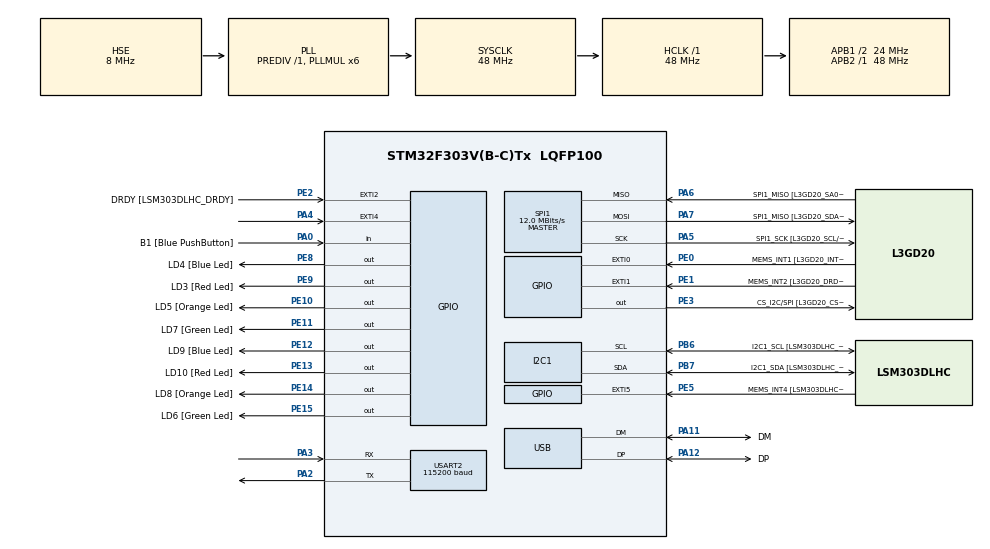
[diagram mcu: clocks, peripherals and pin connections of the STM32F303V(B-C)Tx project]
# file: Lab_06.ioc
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I2C1.Timing=0x2000090E
I2C1.Timing-I2C=0x2000090E
Mcu.Family=STM32F3
Mcu.Name=STM32F303V(B-C)Tx
Mcu.Package=LQFP100
NVIC.EXTI4_IRQn=true\:0\:0\:false\:false\:true\:true\:true\:true
NVIC.PriorityGroup=NVIC_PRIORITYGROUP_0
PA0.GPIO_Label=B1 [Blue PushButton]
PA0.Signal=GPIO_Input
PA11.GPIO_Label=DM
PA11.Mode=Device
PA11.Signal=USB_DM
PA12.GPIO_Label=DP
PA12.Mode=Device
PA12.Signal=USB_DP
PA13.GPIO_Label=SWDIO
PA13.Mode=Serial_Wire
PA13.Signal=SYS_JTMS-SWDIO
PA14.GPIO_Label=SWCLK
PA14.Mode=Serial_Wire
PA14.Signal=SYS_JTCK-SWCLK
PA2.Mode=Asynchronous
PA2.Signal=USART2_TX
PA3.Mode=Asynchronous
PA3.Signal=USART2_RX
PA4.GPIO_ModeDefaultEXTI=GPIO_MODE_IT_RISING
PA4.Signal=GPXTI4
PA5.GPIO_Label=SPI1_SCK [L3GD20_SCL/SPC]
PA5.Mode=Full_Duplex_Master
PA5.Signal=SPI1_SCK
PA6.GPIO_Label=SPI1_MISO [L3GD20_SA0/SDO]
PA6.Mode=Full_Duplex_Master
PA6.Signal=SPI1_MISO
PA7.GPIO_Label=SPI1_MISO [L3GD20_SDA/SDI/SDO]
PA7.Mode=Full_Duplex_Master
PA7.Signal=SPI1_MOSI
PB3.GPIO_Label=SWO
PB3.Signal=SYS_JTDO-TRACESWO
PB6.GPIO_Label=I2C1_SCL [LSM303DLHC_SCL]
PB6.GPIO_Pu=GPIO_PULLUP
PB6.Mode=I2C
PB6.Signal=I2C1_SCL
PB7.GPIO_Label=I2C1_SDA [LSM303DLHC_SDA]
PB7.GPIO_Pu=GPIO_PULLUP
PB7.Mode=I2C
PB7.Signal=I2C1_SDA
PC14-OSC32_IN.GPIO_Label=OSC32_IN
PC14-OSC32_IN.Signal=RCC_OSC32_IN
PC15-OSC32_OUT.GPIO_Label=OSC32_OUT
PC15-OSC32_OUT.Signal=RCC_OSC32_OUT
PE0.GPIO_Label=MEMS_INT1 [L3GD20_INT1]
PE0.GPIO_ModeDefaultEXTI=GPIO_MODE_EVT_RISING
PE0.Signal=GPXTI0
PE1.GPIO_Label=MEMS_INT2 [L3GD20_DRDY/INT2]
PE1.GPIO_ModeDefaultEXTI=GPIO_MODE_EVT_RISING
PE1.Signal=GPXTI1
PE10.GPIO_Label=LD5 [Orange Led]
PE10.Signal=GPIO_Output
PE11.GPIO_Label=LD7 [Green Led]
PE11.Signal=GPIO_Output
PE12.GPIO_Label=LD9 [Blue Led]
PE12.Signal=GPIO_Output
PE13.GPIO_Label=LD10 [Red Led]
PE13.Signal=GPIO_Output
PE14.GPIO_Label=LD8 [Orange Led]
PE14.Signal=GPIO_Output
PE15.GPIO_Label=LD6 [Green Led]
PE15.Signal=GPIO_Output
PE2.GPIO_Label=DRDY [LSM303DLHC_DRDY]
PE2.GPIO_ModeDefaultEXTI=GPIO_MODE_EVT_RISING
PE2.Signal=GPXTI2
PE3.GPIO_Label=CS_I2C/SPI [L3GD20_CS_I2C/SPI]
PE3.Signal=GPIO_Output
PE5.GPIO_Label=MEMS_INT4 [LSM303DLHC_INT2]
PE5.GPIO_ModeDefaultEXTI=GPIO_MODE_EVT_RISING
PE5.Signal=GPXTI5
PE8.GPIO_Label=LD4 [Blue Led]
PE8.Signal=GPIO_Output
PE9.GPIO_Label=LD3 [Red Led]
PE9.Signal=GPIO_Output
PF0-OSC_IN.GPIO_Label=OSC_IN
PF0-OSC_IN.Mode=HSE-External-Clock-Source
PF0-OSC_IN.Signal=RCC_OSC_IN
PF1-OSC_OUT.GPIO_Label=OSC_OUT
PF1-OSC_OUT.Signal=RCC_OSC_OUT
ProjectManager.HeapSize=0x200
ProjectManager.StackSize=0x400
ProjectManager.TargetToolchain=CMake
RCC.AHBFreq_Value=48000000
RCC.APB1CLKDivider=RCC_HCLK_DIV2
RCC.APB1Freq_Value=24000000
RCC.APB1TimFreq_Value=48000000
RCC.APB2Freq_Value=48000000
RCC.APB2TimFreq_Value=48000000
RCC.CortexFreq_Value=48000000
RCC.HCLKFreq_Value=48000000
RCC.HSE_VALUE=8000000
RCC.HSI_VALUE=8000000
RCC.LSE_VALUE=32768
RCC.PLLMUL=RCC_PLL_MUL6
RCC.SYSCLKFreq_VALUE=48000000
RCC.SYSCLKSourceVirtual=RCC_SYSCLKSOURCE_PLLCLK
RCC.USBFreq_Value=48000000
SPI1.BaudRatePrescaler=SPI_BAUDRATEPRESCALER_4
SPI1.BaudRatePrescaler-Full_Duplex_Master=SPI_BAUDRATEPRESCALER_2
SPI1.CalculateBaudRate=12.0 MBits/s
SPI1.CalculateBaudRate-Full_Duplex_Master=24.0 MBits/s
SPI1.Direction=SPI_DIRECTION_2LINES
SPI1.Mode=SPI_MODE_MASTER
SPI1.Mode-Full_Duplex_Master=SPI_MODE_MASTER
SPI1.VirtualType=VM_MASTER
TIM2.Prescaler=9
USART2.BaudRate=115200
USART2.VirtualMode-Asynchronous=VM_ASYNC
VP_TIM2_VS_ClockSourceINT.Mode=Internal
board=STM32F3DISCOVERY

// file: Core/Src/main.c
/* USER CODE BEGIN Header */
/**
  ******************************************************************************
  * @file           : main.c
  * @brief          : Main program body
  ******************************************************************************
  * @attention
  *
  * Copyright (c) 2026 STMicroelectronics.
  * All rights reserved.
  *
  * This software is licensed under terms that can be found in the LICENSE file
  * in the root directory of this software component.
  * If no LICENSE file comes with this software, it is provided AS-IS.
  *
  ******************************************************************************
  */
/* USER CODE END Header */
#include "main.h"

/* USER CODE BEGIN Includes */
#include <string.h>
#include <stdio.h>
#include <stdarg.h>
/* USER CODE END Includes */

I2C_HandleTypeDef hi2c1;

SPI_HandleTypeDef hspi1;

TIM_HandleTypeDef htim2;

UART_HandleTypeDef huart2;

PCD_HandleTypeDef hpcd_USB_FS;

/* USER CODE BEGIN PV */
//TASK1-------------------------------------------------------------------------------------------
// #define SAMPLES 10

// volatile uint32_t cap[SAMPLES];
// volatile uint8_t  idx = 0;
// volatile uint8_t  started = 0;
// volatile uint8_t  print_flag = 0;

// uint32_t last_check = 0;

// // As per handout formula: f = (8e6) / (2 * avg_period)
// #define NUMERATOR 4800000.0f

//TASK2-------------------------------------------------------------------------------------------

// TIM2 configured for 48 MHz clock, PSC = 47  => 1 us per tick
// ARR = 65535, CH1 Input Capture on Rising edge, TIM2 NVIC enabled

volatile uint32_t ic1 = 0;
volatile uint32_t ic2 = 0;
volatile uint32_t period_us = 0;
volatile uint8_t  got_first = 0;
volatile uint8_t  new_data  = 0;

/* USER CODE END PV */

void SystemClock_Config(void);
static void MX_GPIO_Init(void);
static void MX_I2C1_Init(void);
static void MX_SPI1_Init(void);
static void MX_TIM2_Init(void);
static void MX_USB_PCD_Init(void);
static void MX_USART2_UART_Init(void);

/* USER CODE BEGIN 0 */
void myprintf(const char *fmt, ...)
{
  char buffer[128];
  va_list args;
  va_start(args, fmt);
  vsnprintf(buffer, sizeof(buffer), fmt, args);
  va_end(args);

  HAL_UART_Transmit(&huart2, (uint8_t*)buffer, strlen(buffer), HAL_MAX_DELAY);
}

//TASK1----------------------------------------------------------------------------------
// void HAL_GPIO_EXTI_Callback(uint16_t GPIO_Pin)
// {
//   if(GPIO_Pin == GPIO_PIN_4)   // <-- change to your EXTI pin
//   {
//     if(started == 0)
//     {
//       __HAL_TIM_SET_COUNTER(&htim2, 0);
//       HAL_TIM_Base_Start(&htim2);
//       started = 1;
//     }
//     else
//     {
//       cap[idx] = __HAL_TIM_GET_COUNTER(&htim2);
//       idx++;

//       if(idx >= SAMPLES)
//       {
//         idx = 0;
//         print_flag = 1;
//         HAL_TIM_Base_Stop(&htim2);
//         started = 0;
//       }
//       else
//       {
//         __HAL_TIM_SET_COUNTER(&htim2, 0);
//       }
//     }
//   }
// }

  void HAL_TIM_IC_CaptureCallback(TIM_HandleTypeDef *htim)
  {
    if(htim->Instance == TIM2 && htim->Channel == HAL_TIM_ACTIVE_CHANNEL_1)
    {
      if(got_first == 0)
      {
        ic1 = HAL_TIM_ReadCapturedValue(htim, TIM_CHANNEL_1);
        got_first = 1;
      }
      else
      {
        ic2 = HAL_TIM_ReadCapturedValue(htim, TIM_CHANNEL_1);

        if(ic2 >= ic1)
          period_us = ic2 - ic1;
        else
          period_us = (65535 - ic1) + ic2 + 1;   // overflow wrap

        got_first = 0;
        new_data  = 1;
      }
    }
  }

/* USER CODE END 0 */

int main(void)
{

  /* MCU Configuration--------------------------------------------------------*/

  /* Reset of all peripherals, Initializes the Flash interface and the Systick. */
  HAL_Init();

  /* Configure the system clock */
  SystemClock_Config();

  /* Initialize all configured peripherals */
  MX_GPIO_Init();
  MX_I2C1_Init();
  MX_SPI1_Init();
  MX_TIM2_Init();
  MX_USB_PCD_Init();
  MX_USART2_UART_Init();
  /* USER CODE BEGIN 2 */
  //TASK1-------------------------------------------------------------------------
  // myprintf("Task1: GPIO EXTI + TIM2 Frequency Measurement\r\n");

  //TASK2--------------------------------------------------------------------------
  myprintf("Task2: TIM2 CH1 Input Capture (integer output)\r\n");

  HAL_TIM_Base_Start(&htim2);
  HAL_TIM_IC_Start_IT(&htim2, TIM_CHANNEL_1);

  /* USER CODE END 2 */

  /* Infinite loop */
  /* USER CODE BEGIN WHILE */
  while (1)
  {

//   if(HAL_GetTick() - last_check >= 100)
//   {
//     last_check = HAL_GetTick();

//     if(print_flag)
//     {
//       uint64_t sum = 0;

//       for(int i = 0; i < SAMPLES; i++)
//       {
//         sum += cap[i];
//       }

//       uint32_t avg_period = (float)sum / (float)SAMPLES;

//       // STRICT formula from sheet:
//       // f = (48 x 10^6) / (2 x average period)
//       uint32_t f = NUMERATOR / (avg_period);

//       myprintf("avg_period=%lu, f=%lu Hz\r\n", avg_period, f);

//       print_flag = 0;
//     }
//   }
// }
    /* USER CODE END WHILE */

  if(new_data)
  {
    new_data = 0;

    if(period_us > 0)
    {
      // integer frequency in Hz (truncates)
      uint32_t f_hz = 1000000u / period_us;

      myprintf("Period=%lu us, f=%lu Hz\r\n", period_us, f_hz);
    }
  }

  }
}

void SystemClock_Config(void)
{
  RCC_OscInitTypeDef RCC_OscInitStruct = {0};
  RCC_ClkInitTypeDef RCC_ClkInitStruct = {0};
  RCC_PeriphCLKInitTypeDef PeriphClkInit = {0};

  /** Initializes the RCC Oscillators according to the specified parameters
  * in the RCC_OscInitTypeDef structure.
  */
  RCC_OscInitStruct.OscillatorType = RCC_OSCILLATORTYPE_HSI|RCC_OSCILLATORTYPE_HSE;
  RCC_OscInitStruct.HSEState = RCC_HSE_BYPASS;
  RCC_OscInitStruct.HSEPredivValue = RCC_HSE_PREDIV_DIV1;
  RCC_OscInitStruct.HSIState = RCC_HSI_ON;
  RCC_OscInitStruct.HSICalibrationValue = RCC_HSICALIBRATION_DEFAULT;
  RCC_OscInitStruct.PLL.PLLState = RCC_PLL_ON;
  RCC_OscInitStruct.PLL.PLLSource = RCC_PLLSOURCE_HSE;
  RCC_OscInitStruct.PLL.PLLMUL = RCC_PLL_MUL6;
  if (HAL_RCC_OscConfig(&RCC_OscInitStruct) != HAL_OK)
  {
    Error_Handler();
  }

  /** Initializes the CPU, AHB and APB buses clocks
  */
  RCC_ClkInitStruct.ClockType = RCC_CLOCKTYPE_HCLK|RCC_CLOCKTYPE_SYSCLK
                              |RCC_CLOCKTYPE_PCLK1|RCC_CLOCKTYPE_PCLK2;
  RCC_ClkInitStruct.SYSCLKSource = RCC_SYSCLKSOURCE_PLLCLK;
  RCC_ClkInitStruct.AHBCLKDivider = RCC_SYSCLK_DIV1;
  RCC_ClkInitStruct.APB1CLKDivider = RCC_HCLK_DIV2;
  RCC_ClkInitStruct.APB2CLKDivider = RCC_HCLK_DIV1;

  if (HAL_RCC_ClockConfig(&RCC_ClkInitStruct, FLASH_LATENCY_1) != HAL_OK)
  {
    Error_Handler();
  }
  PeriphClkInit.PeriphClockSelection = RCC_PERIPHCLK_USB|RCC_PERIPHCLK_USART2
                              |RCC_PERIPHCLK_I2C1;
  PeriphClkInit.Usart2ClockSelection = RCC_USART2CLKSOURCE_PCLK1;
  PeriphClkInit.I2c1ClockSelection = RCC_I2C1CLKSOURCE_HSI;
  PeriphClkInit.USBClockSelection = RCC_USBCLKSOURCE_PLL;
  if (HAL_RCCEx_PeriphCLKConfig(&PeriphClkInit) != HAL_OK)
  {
    Error_Handler();
  }
}

static void MX_I2C1_Init(void)
{

  hi2c1.Instance = I2C1;
  hi2c1.Init.Timing = 0x2000090E;
  hi2c1.Init.OwnAddress1 = 0;
  hi2c1.Init.AddressingMode = I2C_ADDRESSINGMODE_7BIT;
  hi2c1.Init.DualAddressMode = I2C_DUALADDRESS_DISABLE;
  hi2c1.Init.OwnAddress2 = 0;
  hi2c1.Init.OwnAddress2Masks = I2C_OA2_NOMASK;
  hi2c1.Init.GeneralCallMode = I2C_GENERALCALL_DISABLE;
  hi2c1.Init.NoStretchMode = I2C_NOSTRETCH_DISABLE;
  if (HAL_I2C_Init(&hi2c1) != HAL_OK)
  {
    Error_Handler();
  }

  /** Configure Analogue filter
  */
  if (HAL_I2CEx_ConfigAnalogFilter(&hi2c1, I2C_ANALOGFILTER_ENABLE) != HAL_OK)
  {
    Error_Handler();
  }

  /** Configure Digital filter
  */
  if (HAL_I2CEx_ConfigDigitalFilter(&hi2c1, 0) != HAL_OK)
  {
    Error_Handler();
  }

}

static void MX_SPI1_Init(void)
{

  /* SPI1 parameter configuration*/
  hspi1.Instance = SPI1;
  hspi1.Init.Mode = SPI_MODE_MASTER;
  hspi1.Init.Direction = SPI_DIRECTION_2LINES;
  hspi1.Init.DataSize = SPI_DATASIZE_4BIT;
  hspi1.Init.CLKPolarity = SPI_POLARITY_LOW;
  hspi1.Init.CLKPhase = SPI_PHASE_1EDGE;
  hspi1.Init.NSS = SPI_NSS_SOFT;
  hspi1.Init.BaudRatePrescaler = SPI_BAUDRATEPRESCALER_4;
  hspi1.Init.FirstBit = SPI_FIRSTBIT_MSB;
  hspi1.Init.TIMode = SPI_TIMODE_DISABLE;
  hspi1.Init.CRCCalculation = SPI_CRCCALCULATION_DISABLE;
  hspi1.Init.CRCPolynomial = 7;
  hspi1.Init.CRCLength = SPI_CRC_LENGTH_DATASIZE;
  hspi1.Init.NSSPMode = SPI_NSS_PULSE_ENABLE;
  if (HAL_SPI_Init(&hspi1) != HAL_OK)
  {
    Error_Handler();
  }

}

static void MX_TIM2_Init(void)
{

  TIM_ClockConfigTypeDef sClockSourceConfig = {0};
  TIM_MasterConfigTypeDef sMasterConfig = {0};
  TIM_IC_InitTypeDef sConfigIC = {0};

  htim2.Instance = TIM2;
  htim2.Init.Prescaler = 47;
  htim2.Init.CounterMode = TIM_COUNTERMODE_UP;
  htim2.Init.Period = 65535;
  htim2.Init.ClockDivision = TIM_CLOCKDIVISION_DIV1;
  htim2.Init.AutoReloadPreload = TIM_AUTORELOAD_PRELOAD_DISABLE;
  if (HAL_TIM_Base_Init(&htim2) != HAL_OK)
  {
    Error_Handler();
  }
  sClockSourceConfig.ClockSource = TIM_CLOCKSOURCE_INTERNAL;
  if (HAL_TIM_ConfigClockSource(&htim2, &sClockSourceConfig) != HAL_OK)
  {
    Error_Handler();
  }
  if (HAL_TIM_IC_Init(&htim2) != HAL_OK)
  {
    Error_Handler();
  }
  sMasterConfig.MasterOutputTrigger = TIM_TRGO_RESET;
  sMasterConfig.MasterSlaveMode = TIM_MASTERSLAVEMODE_DISABLE;
  if (HAL_TIMEx_MasterConfigSynchronization(&htim2, &sMasterConfig) != HAL_OK)
  {
    Error_Handler();
  }
  sConfigIC.ICPolarity = TIM_INPUTCHANNELPOLARITY_RISING;
  sConfigIC.ICSelection = TIM_ICSELECTION_DIRECTTI;
  sConfigIC.ICPrescaler = TIM_ICPSC_DIV1;
  sConfigIC.ICFilter = 0;
  if (HAL_TIM_IC_ConfigChannel(&htim2, &sConfigIC, TIM_CHANNEL_1) != HAL_OK)
  {
    Error_Handler();
  }

}

static void MX_USART2_UART_Init(void)
{

  huart2.Instance = USART2;
  huart2.Init.BaudRate = 115200;
  huart2.Init.WordLength = UART_WORDLENGTH_8B;
  huart2.Init.StopBits = UART_STOPBITS_1;
  huart2.Init.Parity = UART_PARITY_NONE;
  huart2.Init.Mode = UART_MODE_TX_RX;
  huart2.Init.HwFlowCtl = UART_HWCONTROL_NONE;
  huart2.Init.OverSampling = UART_OVERSAMPLING_16;
  huart2.Init.OneBitSampling = UART_ONE_BIT_SAMPLE_DISABLE;
  huart2.AdvancedInit.AdvFeatureInit = UART_ADVFEATURE_NO_INIT;
  if (HAL_UART_Init(&huart2) != HAL_OK)
  {
    Error_Handler();
  }

}

static void MX_USB_PCD_Init(void)
{

  hpcd_USB_FS.Instance = USB;
  hpcd_USB_FS.Init.dev_endpoints = 8;
  hpcd_USB_FS.Init.speed = PCD_SPEED_FULL;
  hpcd_USB_FS.Init.phy_itface = PCD_PHY_EMBEDDED;
  hpcd_USB_FS.Init.low_power_enable = DISABLE;
  hpcd_USB_FS.Init.battery_charging_enable = DISABLE;
  if (HAL_PCD_Init(&hpcd_USB_FS) != HAL_OK)
  {
    Error_Handler();
  }

}

static void MX_GPIO_Init(void)
{
  GPIO_InitTypeDef GPIO_InitStruct = {0};

  /* GPIO Ports Clock Enable */
  __HAL_RCC_GPIOE_CLK_ENABLE();
  __HAL_RCC_GPIOC_CLK_ENABLE();
  __HAL_RCC_GPIOF_CLK_ENABLE();
  __HAL_RCC_GPIOA_CLK_ENABLE();
  __HAL_RCC_GPIOD_CLK_ENABLE();
  __HAL_RCC_GPIOB_CLK_ENABLE();

  /*Configure GPIO pin Output Level */
  HAL_GPIO_WritePin(GPIOE, CS_I2C_SPI_Pin|LD4_Pin|LD3_Pin|LD5_Pin
                          |LD7_Pin|LD9_Pin|LD10_Pin|LD8_Pin
                          |LD6_Pin, GPIO_PIN_RESET);

  /*Configure GPIO pins : DRDY_Pin MEMS_INT4_Pin MEMS_INT1_Pin MEMS_INT2_Pin */
  GPIO_InitStruct.Pin = DRDY_Pin|MEMS_INT4_Pin|MEMS_INT1_Pin|MEMS_INT2_Pin;
  GPIO_InitStruct.Mode = GPIO_MODE_EVT_RISING;
  GPIO_InitStruct.Pull = GPIO_NOPULL;
  HAL_GPIO_Init(GPIOE, &GPIO_InitStruct);

  /*Configure GPIO pins : CS_I2C_SPI_Pin LD4_Pin LD3_Pin LD5_Pin
                           LD7_Pin LD9_Pin LD10_Pin LD8_Pin
                           LD6_Pin */
  GPIO_InitStruct.Pin = CS_I2C_SPI_Pin|LD4_Pin|LD3_Pin|LD5_Pin
                          |LD7_Pin|LD9_Pin|LD10_Pin|LD8_Pin
                          |LD6_Pin;
  GPIO_InitStruct.Mode = GPIO_MODE_OUTPUT_PP;
  GPIO_InitStruct.Pull = GPIO_NOPULL;
  GPIO_InitStruct.Speed = GPIO_SPEED_FREQ_LOW;
  HAL_GPIO_Init(GPIOE, &GPIO_InitStruct);

  /*Configure GPIO pin : B1_Pin */
  GPIO_InitStruct.Pin = B1_Pin;
  GPIO_InitStruct.Mode = GPIO_MODE_INPUT;
  GPIO_InitStruct.Pull = GPIO_NOPULL;
  HAL_GPIO_Init(B1_GPIO_Port, &GPIO_InitStruct);

  /*Configure GPIO pin : PA4 */
  GPIO_InitStruct.Pin = GPIO_PIN_4;
  GPIO_InitStruct.Mode = GPIO_MODE_IT_RISING;
  GPIO_InitStruct.Pull = GPIO_PULLDOWN;
  HAL_GPIO_Init(GPIOA, &GPIO_InitStruct);

  /* EXTI interrupt init*/
  HAL_NVIC_SetPriority(EXTI4_IRQn, 0, 0);
  HAL_NVIC_EnableIRQ(EXTI4_IRQn);

}

void Error_Handler(void)
{
  __disable_irq();
  while (1)
  {
  }
}
